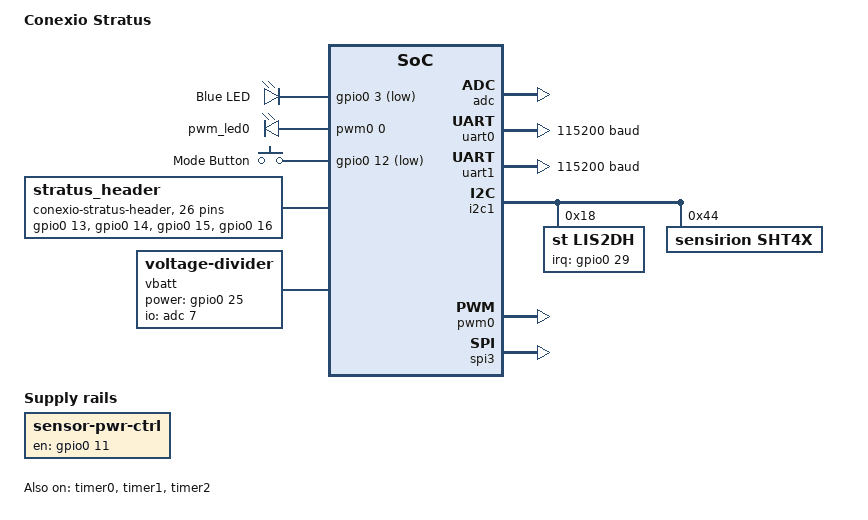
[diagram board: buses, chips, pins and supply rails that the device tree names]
/*
 * Copyright (c) 2022 Conexio Technologies, Inc
 *
 * SPDX-License-Identifier: Apache-2.0
 */
#include "conexio_stratus_common-pinctrl.dtsi"

/ {
	model = "Conexio Stratus";
	compatible = "conexio,stratus";

	chosen {
		zephyr,console = &uart0;
		zephyr,shell-uart = &uart0;
		zephyr,uart-mcumgr = &uart0;
	};

	leds {
		compatible = "gpio-leds";
		blue_led: led_0 {
			gpios = <&gpio0 3 GPIO_ACTIVE_LOW>;
			label = "Blue LED";
		};
	};

	pwmleds {
		compatible = "pwm-leds";
		pwm_led0: pwm_led_0 {
			pwms = <&pwm0 0 PWM_MSEC(20) PWM_POLARITY_INVERTED>;
		};
	};

	buttons {
		compatible = "gpio-keys";
		button0: button_0 {
			gpios = <&gpio0 12 (GPIO_PULL_UP | GPIO_ACTIVE_LOW)>;
			label = "Mode Button";
		};
	};

	/* These aliases are provided for compatibility with samples */
	aliases {
		led0 = &blue_led; /* For user programmable purpose */
		bootloader-led0 = &blue_led; /* For MCUBoot */
		pwm-led0 = &pwm_led0;
		sw0 = &button0; /* For user button */
	};

	/* Used for accessing other pins */
	stratus_header: connector {
		compatible = "conexio-stratus-header";
		#gpio-cells = <2>;
		gpio-map-mask = <0xffffffff 0xffffffc0>;
		gpio-map-pass-thru = <0 0x3f>;
		gpio-map = <0 0 &gpio0 13 0>,  /* A0 */
				<1 0 &gpio0 14 0>,   /* A1 */
				<2 0 &gpio0 15 0>,   /* A2 */
				<3 0 &gpio0 16 0>,   /* A3 */
				<4 0 &gpio0 17 0>,   /* A4 */
				<5 0 &gpio0 18 0>,   /* A5 */
				<6 0 &gpio0 19 0>,   /* SCK */
				<7 0 &gpio0 21 0>,   /* MOSI */
				<8 0 &gpio0 22 0>,   /* MISO */
				<9 0 &gpio0 23 0>,   /* RX */
				<10 0 &gpio0 24 0>,  /* TX */
				<11 0 &gpio0 31 0>,  /* 31 */
				<12 0 &gpio0 10 0>,  /* D12 */
				<13 0 &gpio0 9 0>,   /* D11 */
				<14 0 &gpio0 8 0>,   /* D10 */
				<15 0 &gpio0 7 0>,   /* D9 */
				<16 0 &gpio0 26 0>,  /* SDA */
				<17 0 &gpio0 27 0>,  /* SCL */
				<18 0 &gpio0 29 0>,  /* 2 */
				<19 0 &gpio0 30 0>,  /* 3 */
				<20 0 &gpio0 0 0>,   /* 4 */
				<21 0 &gpio0 1 0>,   /* 5 */
				<22 0 &gpio0 2 0>,   /* 6 */
				<23 0 &gpio0 3 0>,   /* 7 */
				<24 0 &gpio0 4 0>,   /* 8 */
				/* 25 VCC 5V */
				<26 0 &gpio0 28 0>;  /* 28 */
	};

	vbatt {
		compatible = "voltage-divider";
		io-channels = <&adc 7>;
		output-ohms = <100000>;
		full-ohms = <(100000 + 100000)>;
		power-gpios = <&gpio0 25 GPIO_ACTIVE_HIGH>;
	};

	sensor-pwr-ctrl {
		compatible = "regulator-fixed-sync", "regulator-fixed";
		label = "sensor-pwr-ctrl";
		regulator-name = "sensor-pwr-ctrl";
		enable-gpios = <&gpio0 11 GPIO_ACTIVE_HIGH>;
		regulator-boot-on;
	};
};

&adc {
	status = "okay";
};

&gpiote {
	status = "okay";
};

&gpio0 {
	status = "okay";
};

&uart0 {
	status = "okay";
	current-speed = <115200>;
	pinctrl-0 = <&uart0_default>;
	pinctrl-1 = <&uart0_sleep>;
	pinctrl-names = "default", "sleep";
};

&uart1 {
	current-speed = <115200>;
	pinctrl-0 = <&uart1_default>;
	pinctrl-1 = <&uart1_sleep>;
	pinctrl-names = "default", "sleep";
};

&uart2 {
	pinctrl-0 = <&uart2_default>;
	pinctrl-1 = <&uart2_sleep>;
	pinctrl-names = "default", "sleep";
};

&i2c1 {
	compatible = "nordic,nrf-twim";
	status = "okay";

	pinctrl-0 = <&i2c1_default>;
	pinctrl-1 = <&i2c1_sleep>;
	pinctrl-names = "default", "sleep";

	lis2dh@18 {
		compatible = "st,lis2dh";
		label = "LIS2DH";
		reg = <0x18>;
		irq-gpios = <&gpio0 29 GPIO_ACTIVE_HIGH>;
		disconnect-sdo-sa0-pull-up;
	};

	sht4x@44 {
		compatible = "sensirion,sht4x";
		label = "SHT4X";
		reg = <0x44>;
		repeatability = <2>;
	};

};

&pwm0 {
	status = "okay";
	pinctrl-0 = <&pwm0_default>;
	pinctrl-1 = <&pwm0_sleep>;
	pinctrl-names = "default", "sleep";
};

&spi3 {
	compatible = "nordic,nrf-spim";
	status = "okay";
	pinctrl-0 = <&spi3_default>;
	pinctrl-1 = <&spi3_sleep>;
	pinctrl-names = "default", "sleep";
};

&timer0 {
	status = "okay";
};

&timer1 {
	status = "okay";
};

&timer2 {
	status = "okay";
};

&flash0 {

	partitions {
		compatible = "fixed-partitions";
		#address-cells = <1>;
		#size-cells = <1>;

		boot_partition: partition@0 {
			label = "mcuboot";
			reg = <0x00000000 0x10000>;
		};
		slot0_partition: partition@10000 {
			label = "image-0";
		};
		slot0_ns_partition: partition@40000 {
			label = "image-0-nonsecure";
		};
		slot1_partition: partition@80000 {
			label = "image-1";
		};
		slot1_ns_partition: partition@b0000 {
			label = "image-1-nonsecure";
		};
		scratch_partition: partition@f0000 {
			label = "image-scratch";
			reg = <0x000f0000 0xa000>;
		};
		storage_partition: partition@fa000 {
			label = "storage";
			reg = <0x000fa000 0x00006000>;
		};
	};
};

/ {

	reserved-memory {
		#address-cells = <1>;
		#size-cells = <1>;
		ranges;

		sram0_s: image_s@20000000 {
			/* Secure image memory */
		};

		sram0_bsd: image_bsd@20010000 {
			/* BSD (shared) memory */
		};

		sram0_ns: image_ns@20020000 {
			/* Non-Secure image memory */
		};
	};
};

/* Include partition configuration file */
#include "conexio_stratus_partition_conf.dts"

